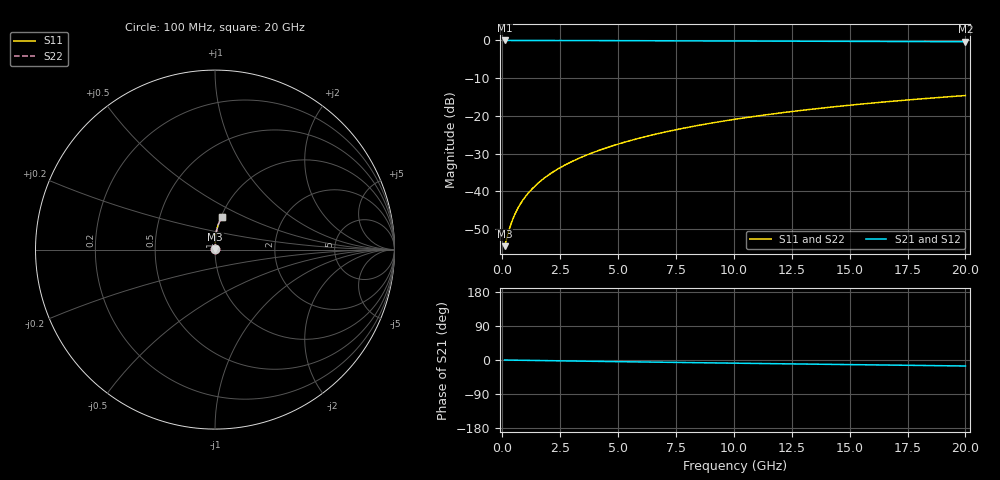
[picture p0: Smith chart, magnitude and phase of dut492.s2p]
! Touchstone file exported from HFSS 2024.1.0
!  File:  C:/UserFiles/LocalFiles/RDL_TSV_Batchsim/temp_RDL_top_492_1779678741.aedt
!  Generated:  11:14:41 AM May 25, 2026
!  Design:  RDL_top
!  Project:  temp_RDL_top_492_1779678741
!  Setup:  Setup1
!  Solution:  Sweep
! Variables:
!  dtsv = 10.80580581um
!  hbump = 3um
!  htsv = 87.5um
!  ldown = 100um
!  lrdl = 168.4um
!  p = 40
!  p1 = 55.12um
!  rhole = 1um
!  t = 450um
!  tdown = 3.915915916um
!  trdl = 2.04um
!  wdown = 15.38538539um
!  wrdl = 23.87um
# GHz S MA R 50.000000
! Terminal data exported
! Port[1] = Box2_T1
! Port[2] = Box2_T2
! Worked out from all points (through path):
!   200 points, 100 MHz to 20 GHz, reference 50 ohm
!   highest |S21| = -0.01 dB at 100 MHz (marker M1); lowest = -0.4 dB at 20 GHz (marker M2)
!   group delay of S21, straight-line fit = 2.18 ps
!   lowest |S11| = -54.5 dB at 100 MHz (marker M3), VSWR 1.00, Z = 50.2 + j0.0885 ohm
!   |S11| at or under -10 dB: start of sweep to end of sweep
!   |S22| runs from -54.5 to -14.6 dB; largest |S21 - S12| = 3.2e-15
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0.1  0.001887 27.9  0.9983 -0.1  0.9983 -0.1  0.001887 27.9
! Gamma 0 0 0 0
! Port Impedance 50 0 50 0
0.3  0.003137 56.4  0.9982 -0.3  0.9982 -0.3  0.003137 56.4
0.4  0.003887 62.8  0.9982 -0.4  0.9982 -0.4  0.003887 62.8
0.5  0.004656 67.0  0.9981 -0.5  0.9981 -0.5  0.004656 67.0
0.6  0.005431 70.0  0.998 -0.6  0.998 -0.6  0.005431 70.0
0.7  0.006209 72.3  0.9979 -0.6  0.9979 -0.6  0.006209 72.3
0.9  0.007769 75.6  0.9978 -0.8  0.9978 -0.8  0.007769 75.6
1.2  0.01013 78.9  0.9976 -1.1  0.9976 -1.1  0.01013 78.9
1.4  0.01172 80.5  0.9974 -1.3  0.9974 -1.3  0.01172 80.5
1.7  0.01412 82.2  0.9971 -1.5  0.9971 -1.5  0.01412 82.2
2.2  0.01819 84.3  0.9966 -2.0  0.9966 -2.0  0.01819 84.3
2.8  0.02317 85.8  0.9959 -2.5  0.9959 -2.5  0.02317 85.8
3.5  0.02913 87.0  0.9949 -3.1  0.9949 -3.1  0.02913 87.0
4.2  0.03523 87.7  0.9938 -3.7  0.9938 -3.7  0.03523 87.7
5  0.04237 88.2  0.9924 -4.4  0.9924 -4.4  0.04237 88.2
5.9  0.05061 88.4  0.9906 -5.1  0.9906 -5.1  0.05061 88.4
6.8  0.05903 88.3  0.9888 -5.9  0.9888 -5.9  0.05903 88.3
8.4  0.07433 87.7  0.9855 -7.1  0.9855 -7.1  0.07434 87.7
10.1  0.09088 86.6  0.9819 -8.5  0.9819 -8.5  0.09088 86.6
13.4  0.1232 84.0  0.9748 -11.0  0.9748 -11.0  0.1232 84.0
16.7  0.1551 81.2  0.9676 -13.4  0.9676 -13.4  0.1551 81.2
20  0.1862 78.4  0.9601 -15.8  0.9601 -15.8  0.1862 78.4
